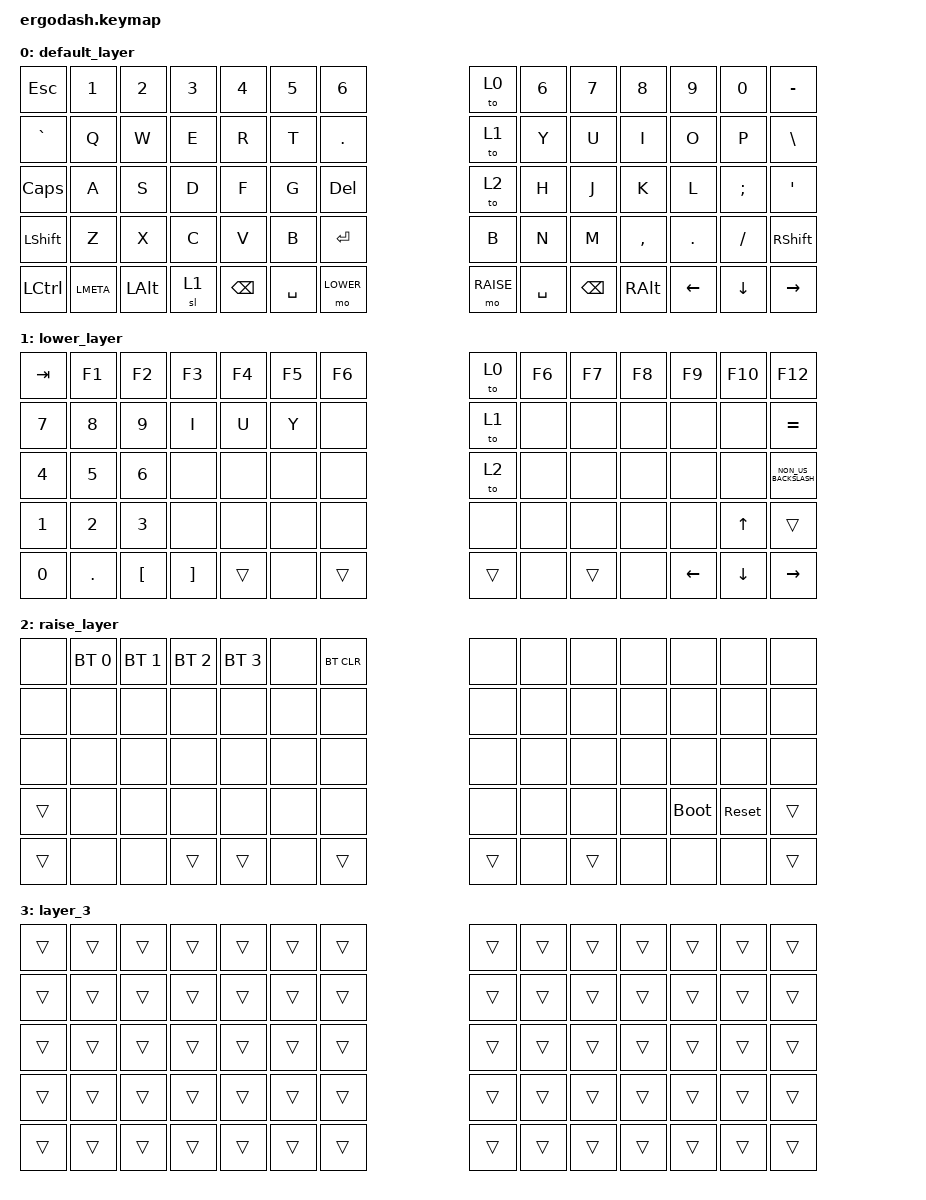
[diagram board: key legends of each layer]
/*
 * Copyright (c) 2020 The ZMK Contributors
 *
 * SPDX-License-Identifier: MIT
 */

#include <behaviors.dtsi>
#include <dt-bindings/zmk/bt.h>
#include <dt-bindings/zmk/keys.h>

#define DEFAULT 0
#define LOWER   1
#define RAISE   2

/ {
    keymap {
        compatible = "zmk,keymap";

        default_layer {
            /* QWERTY
 * .----------------------------------------------------------------------------------------------------------------------.
 * |  `   |   1  |   2  |   3  |   4  |   5  |  [   |                    |  ]   |   6  |   7  |   8  |   9  |   0  | PScr |
 * |------+------+------+------+------+------+------+--------------------+------+------+------+------+------+------+------|
 * | ESC  |   Q  |   W  |   E  |   R  |   T  |  -   |                    |  =   |   Y  |   U  |   I  |   O  |   P  |  \   |
 * |------+------+------+------+------+------+------+--------------------+------+------+------+------+------+------+------|
 * | Tab  |   A  |   S  |   D  |   F  |   G  | Del  |                    | Bksp |   H  |   J  |   K  |   L  |   ;  |  '   |
 * |------+------+------+------+------+------+---------------------------+------+------+------+------+------+------+------|
 * | Shift|   Z  |   X  |   C  |   V  |   B  | End  |                    | Home |   N  |   M  |   ,  |   .  |   /  | Shift|
 * |-------------+------+------+------+------+------+------+------+------+------+------+------+------+------+-------------|
 * | Ctrl |      | PGDN | Win  |||||||| Alt  | Space| Lower|||||||| Raise| Enter| RAlt ||||||||      | PGUP | Ins  | RCtrl|
 * .----------------------------------------------------------------------------------------------------------------------.
 */

            bindings = <
&kp ESC    &kp N1     &kp N2        &kp N3  &kp N4         &kp N5  &kp NUMBER_6                        &to 0      &kp N6  &kp N7         &kp N8     &kp N9    &kp N0     &kp MINUS
&kp GRAVE  &kp Q      &kp W         &kp E   &kp R          &kp T   &kp PERIOD                          &to 1      &kp Y   &kp U          &kp I      &kp O     &kp P      &kp BSLH
&kp CAPS   &kp A      &kp S         &kp D   &kp F          &kp G   &kp DEL                             &to 2      &kp H   &kp J          &kp K      &kp L     &kp SEMI   &kp SQT
&kp LSHFT  &kp Z      &kp X         &kp C   &kp V          &kp B                 &kp ENTER  &kp B                 &kp N   &kp M          &kp COMMA  &kp DOT   &kp SLASH  &kp RSHFT
&kp LCTRL  &kp LMETA  &kp LEFT_ALT  &sl 1   &kp BACKSPACE          &kp SPACE     &mo LOWER  &mo RAISE  &kp SPACE          &kp BACKSPACE  &kp RALT   &kp LEFT  &kp DOWN   &kp RIGHT
            >;
        };

        lower_layer {
            /* .----------------------------------------------------------------------------------------------------------------------.
 * |  F11 |  F1  |  F2  |  F3  |  F4  |  F5  |      |                    |      |  F6  |  F7  |  F8  |  F9  |  F10 |  F12 |
 * |------+------+------+------+------+------+------+--------------------+------+------+------+------+------+------+------|
 * |      |      |      |      |      |      |      |                    |      |      |      |      |      |      |      |
 * |------+------+------+------+------+------+------+--------------------+------+------+------+------+------+------+------|
 * |      |      |      |      |      |      |      |                    |      |      |      |      |      |      |      |
 * |------+------+------+------+------+------+---------------------------+------+------+------+------+------+------+------|
 * | Shift| Boot | Reset|      |      |      |      |                    |      |      |      |      |      |      | Shift|
 * |-------------+------+------+------+------+------+------+------+------+------+------+------+------+------+-------------|
 * | Ctlr |      |      |  Win |||||||| Alt  |      | Lower|||||||| Raise|      | RAlt ||||||||      |      |      | RCtrl|
 * .----------------------------------------------------------------------------------------------------------------------.
 */ /* FIXME boot and reset are not yet locale aware */
            bindings = <
&kp TAB       &kp F1        &kp F2            &kp F3             &kp F4  &kp F5  &kp F6                  &to 0  &kp F6  &kp F7  &kp F8  &kp F9    &kp F10       &kp F12
&kp N7        &kp N8        &kp N9            &kp I              &kp U   &kp Y   &none                   &to 1  &none   &none   &none   &none     &none         &kp EQUAL
&kp NUMBER_4  &kp N5        &kp NUMBER_6      &none              &none   &none   &none                   &to 2  &none   &none   &none   &none     &none         &kp NON_US_BACKSLASH
&kp NUMBER_1  &kp NUMBER_2  &kp NUMBER_3      &none              &none   &none           &none   &none          &none   &none   &none   &none     &kp UP_ARROW  &trans
&kp N0        &kp PERIOD    &kp LEFT_BRACKET  &kp RIGHT_BRACKET  &trans          &none   &trans  &trans  &none          &trans  &none   &kp LEFT  &kp DOWN      &kp RIGHT_ARROW
            >;
        };

        raise_layer {
            /* .----------------------------------------------------------------------------------------------------------------------.
 * |      | BT 0 | BT 1 | BT 2 | BT 3 |      | BTCL |                    |      |      |      |      |      |      |      |
 * |------+------+------+------+------+------+------+--------------------+------+------+------+------+------+------+------|
 * |      |      |      |      |      |      |      |                    |      |      |      |      |      |      |      |
 * |------+------+------+------+------+------+------+--------------------+------+------+------+------+------+------+------|
 * |      |      |      |      |      |      |      |                    |      |      |      |      |      |      |      |
 * |------+------+------+------+------+------+---------------------------+------+------+------+------+------+------+------|
 * | Shift|      |      |      |      |      |      |                    |      |      |      |      | Boot | Reset| Shift|
 * |-------------+------+------+------+------+------+------+------+------+------+------+------+------+------+-------------|
 * | Ctlr |      |      |  Win |||||||| Alt  |      | Lower|||||||| Raise|      | RAlt ||||||||      |      |      | RCtrl|
 * .----------------------------------------------------------------------------------------------------------------------.
 */ /* FIXME boot and reset are not yet locale aware */
            bindings = <
&none   &bt BT_SEL 0  &bt BT_SEL 1  &bt BT_SEL 2  &bt BT_SEL 3  &none  &bt BT_CLR                  &none  &none  &none   &none  &none        &none       &none
&none   &none         &none         &none         &none         &none  &none                       &none  &none  &none   &none  &none        &none       &none
&none   &none         &none         &none         &none         &none  &none                       &none  &none  &none   &none  &none        &none       &none
&trans  &none         &none         &none         &none         &none              &none   &none          &none  &none   &none  &bootloader  &sys_reset  &trans
&trans  &none         &none         &trans        &trans               &none       &trans  &trans  &none         &trans  &none  &none        &none       &trans
            >;
        };

        layer_3 {
            bindings = <
&trans  &trans  &trans  &trans  &trans  &trans  &trans                  &trans  &trans  &trans  &trans  &trans  &trans  &trans
&trans  &trans  &trans  &trans  &trans  &trans  &trans                  &trans  &trans  &trans  &trans  &trans  &trans  &trans
&trans  &trans  &trans  &trans  &trans  &trans  &trans                  &trans  &trans  &trans  &trans  &trans  &trans  &trans
&trans  &trans  &trans  &trans  &trans  &trans          &trans  &trans          &trans  &trans  &trans  &trans  &trans  &trans
&trans  &trans  &trans  &trans  &trans          &trans  &trans  &trans  &trans          &trans  &trans  &trans  &trans  &trans
            >;
        };
    };
};
